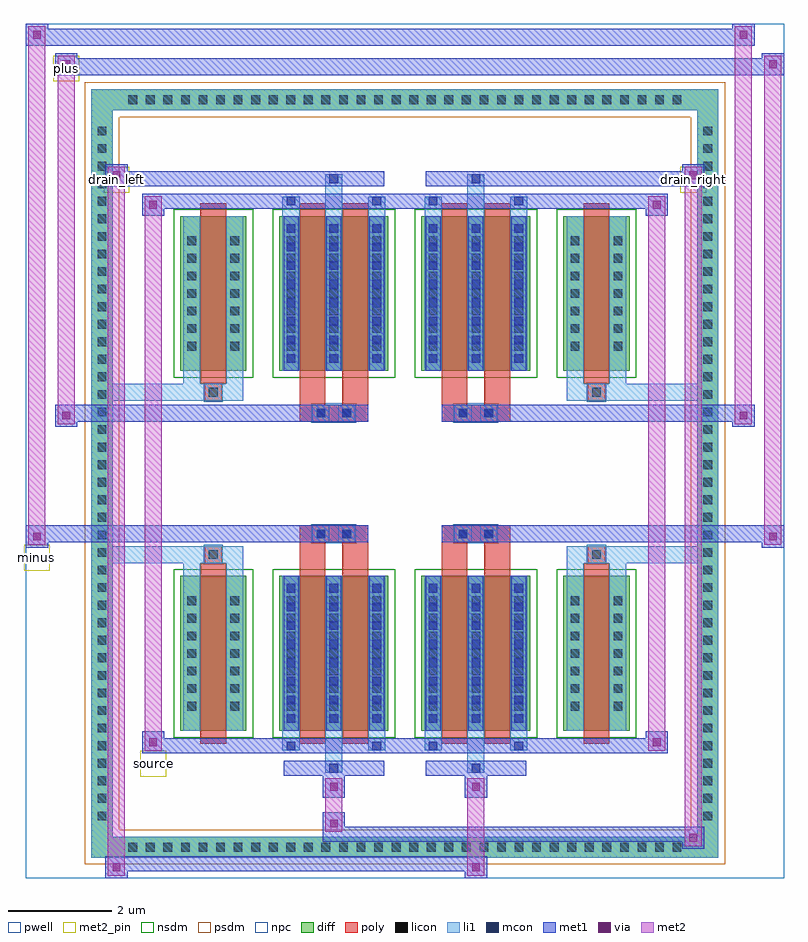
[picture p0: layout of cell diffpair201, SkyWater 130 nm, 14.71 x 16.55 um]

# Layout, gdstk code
import gdstk
lib = gdstk.Library(unit=1e-6, precision=5e-09)
def R(c, l, rs):  # rectangles x0, y0, x1, y1
    for r in rs: c.add(gdstk.rectangle(r[:2], r[2:], *l))
def A(c, l, x, y, w, h, nx, ny, dx, dy):  # array of equal rectangles
    R(c, l, [(x+i*dx, y+j*dy, x+i*dx+w, y+j*dy+h) for i in range(nx) for j in range(ny)])
def P(c, l, *ps):  # polygons
    for p in ps: c.add(gdstk.Polygon(p, *l))
pwell = (64, 44)
diff = (65, 20)
poly = (66, 20)
licon = (66, 44)
li1 = (67, 20)
mcon = (67, 44)
met1 = (68, 20)
via = (68, 44)
met2_pin = (69, 16)
met2 = (69, 20)
nsdm = (93, 44)
psdm = (94, 20)
npc = (95, 20)

diffpair201 = lib.new_cell('diffpair201')
R(diffpair201, pwell, [(-7.34,-7.84,7.34,8.71), (-4.66,-6.03,-0.01,-0.805), (0.01,-6.03,4.66,-0.805), (-4.66,0.805,-0.01,6.03), (0.01,0.805,4.66,6.03)])
A(diffpair201, diff, -5.475, -7.44, 0.41, 0.41, 32, 2, 0.34, 14.47)
A(diffpair201, diff, -6.07, -6.835, 0.41, 0.41, 1, 40, 0, 0.34)
A(diffpair201, diff, 5.66, -6.835, 0.41, 0.41, 1, 40, 0, 0.34)
R(diffpair201, diff, [(-5.475,-7.44,5.475,-7.03), (-6.07,-6.835,-5.66,6.835), (5.66,-6.835,6.07,6.835), (-4.35,-4.985,-3.07,-1.985), (-2.43,-4.985,-0.32,-1.985), (0.32,-4.985,2.43,-1.985), (3.07,-4.985,4.35,-1.985), (-4.35,1.985,-3.07,4.985), (-2.43,1.985,-0.32,4.985), (0.32,1.985,2.43,4.985), (3.07,1.985,4.35,4.985), (-5.475,7.03,5.475,7.44)])
P(diffpair201, diff, [(6.07,7.44),(-6.07,7.44),(-6.07,-7.03),(-5.66,-7.03),(-5.66,7.03),(5.66,7.03),(5.66,-7.03),(-5.66,-7.03),(-6.07,-7.03),(-6.07,-7.44),(6.07,-7.44)])
R(diffpair201, poly, [(-3.96,-5.235,-3.46,-1.735), (-2.04,-5.235,-1.54,-1.735), (-1.21,-5.235,-0.71,-1.735), (0.71,-5.235,1.21,-1.735), (1.54,-5.235,2.04,-1.735), (3.46,-5.235,3.96,-1.735), (-3.875,-1.735,-3.545,-1.405), (-3.875,-1.735,-3.545,-1.405), (-2.04,-1.735,-1.54,-1.335), (-1.21,-1.735,-0.71,-1.335), (0.71,-1.735,1.21,-1.335), (1.54,-1.735,2.04,-1.335), (3.545,-1.735,3.875,-1.405), (3.545,-1.735,3.875,-1.405), (-2.04,-1.335,-0.71,-1.005), (-1.79,-1.335,-1.46,-1.005), (-1.29,-1.335,-0.96,-1.005), (0.71,-1.335,2.04,-1.005), (0.96,-1.335,1.29,-1.005), (1.46,-1.335,1.79,-1.005), (-2.04,1.005,-0.71,1.335), (-1.79,1.005,-1.46,1.335), (-1.29,1.005,-0.96,1.335), (0.71,1.005,2.04,1.335), (0.96,1.005,1.29,1.335), (1.46,1.005,1.79,1.335), (-2.04,1.335,-1.54,1.735), (-1.21,1.335,-0.71,1.735), (0.71,1.335,1.21,1.735), (1.54,1.335,2.04,1.735), (-3.875,1.405,-3.545,1.735), (-3.875,1.405,-3.545,1.735), (3.545,1.405,3.875,1.735), (3.545,1.405,3.875,1.735), (-3.96,1.735,-3.46,5.235), (-2.04,1.735,-1.54,5.235), (-1.21,1.735,-0.71,5.235), (0.71,1.735,1.21,5.235), (1.54,1.735,2.04,5.235), (3.46,1.735,3.96,5.235)])
A(diffpair201, licon, -5.355, -7.32, 0.17, 0.17, 32, 2, 0.34, 14.47)
A(diffpair201, licon, -5.95, -6.715, 0.17, 0.17, 1, 40, 0, 0.34)
A(diffpair201, licon, 5.78, -6.715, 0.17, 0.17, 1, 40, 0, 0.34)
A(diffpair201, licon, -4.21, -4.59, 0.17, 0.17, 1, 7, 0, 0.34)
A(diffpair201, licon, -3.38, -4.59, 0.17, 0.17, 1, 7, 0, 0.34)
A(diffpair201, licon, -2.29, -4.59, 0.17, 0.17, 3, 7, 0.83, 0.34)
A(diffpair201, licon, 0.46, -4.59, 0.17, 0.17, 3, 7, 0.83, 0.34)
A(diffpair201, licon, 3.21, -4.59, 0.17, 0.17, 1, 7, 0, 0.34)
A(diffpair201, licon, 4.04, -4.59, 0.17, 0.17, 1, 7, 0, 0.34)
A(diffpair201, licon, -4.21, 2.38, 0.17, 0.17, 1, 7, 0, 0.34)
A(diffpair201, licon, -3.38, 2.38, 0.17, 0.17, 1, 7, 0, 0.34)
A(diffpair201, licon, -2.29, 2.38, 0.17, 0.17, 3, 7, 0.83, 0.34)
A(diffpair201, licon, 0.46, 2.38, 0.17, 0.17, 3, 7, 0.83, 0.34)
A(diffpair201, licon, 3.21, 2.38, 0.17, 0.17, 1, 7, 0, 0.34)
A(diffpair201, licon, 4.04, 2.38, 0.17, 0.17, 1, 7, 0, 0.34)
R(diffpair201, licon, [(-3.795,-1.655,-3.625,-1.485), (3.625,-1.655,3.795,-1.485), (-1.71,-1.255,-1.54,-1.085), (-1.21,-1.255,-1.04,-1.085), (1.04,-1.255,1.21,-1.085), (1.54,-1.255,1.71,-1.085), (-1.71,1.085,-1.54,1.255), (-1.21,1.085,-1.04,1.255), (1.04,1.085,1.21,1.255), (1.54,1.085,1.71,1.255), (-3.795,1.485,-3.625,1.655), (3.625,1.485,3.795,1.655)])
A(diffpair201, li1, -5.435, -7.4, 0.33, 0.33, 32, 2, 0.34, 14.47)
A(diffpair201, li1, -6.03, -6.795, 0.33, 0.33, 1, 40, 0, 0.34)
A(diffpair201, li1, 5.7, -6.795, 0.33, 0.33, 1, 40, 0, 0.34)
A(diffpair201, li1, -2.37, -4.985, 0.33, 3, 3, 2, 0.83, 6.97)
A(diffpair201, li1, 0.38, -4.985, 0.33, 3, 3, 2, 0.83, 6.97)
A(diffpair201, li1, -2.29, -4.83, 0.17, 0.17, 3, 8, 0.83, 0.36)
A(diffpair201, li1, -2.29, -4.83, 0.17, 2.69, 3, 2, 0.83, 6.97)
A(diffpair201, li1, 0.46, -4.83, 0.17, 0.17, 3, 8, 0.83, 0.36)
A(diffpair201, li1, 0.46, -4.83, 0.17, 2.69, 3, 2, 0.83, 6.97)
A(diffpair201, li1, -4.29, -4.67, 0.33, 0.33, 1, 7, 0, 0.34)
A(diffpair201, li1, -3.46, -4.67, 0.33, 0.33, 1, 7, 0, 0.34)
A(diffpair201, li1, -2.37, -4.67, 0.33, 0.33, 3, 7, 0.83, 0.34)
A(diffpair201, li1, 0.38, -4.67, 0.33, 0.33, 3, 7, 0.83, 0.34)
A(diffpair201, li1, 3.13, -4.67, 0.33, 0.33, 1, 7, 0, 0.34)
A(diffpair201, li1, 3.96, -4.67, 0.33, 0.33, 1, 7, 0, 0.34)
A(diffpair201, li1, -2.29, 2.14, 0.17, 0.17, 3, 8, 0.83, 0.36)
A(diffpair201, li1, 0.46, 2.14, 0.17, 0.17, 3, 8, 0.83, 0.36)
A(diffpair201, li1, -4.29, 2.3, 0.33, 0.33, 1, 7, 0, 0.34)
A(diffpair201, li1, -3.46, 2.3, 0.33, 0.33, 1, 7, 0, 0.34)
A(diffpair201, li1, -2.37, 2.3, 0.33, 0.33, 3, 7, 0.83, 0.34)
A(diffpair201, li1, 0.38, 2.3, 0.33, 0.33, 3, 7, 0.83, 0.34)
A(diffpair201, li1, 3.13, 2.3, 0.33, 0.33, 1, 7, 0, 0.34)
A(diffpair201, li1, 3.96, 2.3, 0.33, 0.33, 1, 7, 0, 0.34)
R(diffpair201, li1, [(-6.07,-7.44,-5.66,-7.03), (-6.07,-7.44,-5.66,-7.03), (-5.66,-7.44,5.66,-7.03), (5.66,-7.44,6.07,-7.03), (5.66,-7.44,6.07,-7.03), (-6.07,-7.03,-5.66,7.03), (5.66,-7.03,6.07,7.03), (-1.54,-5.79,-1.21,-4.985), (-1.46,-5.79,-1.29,-5.62), (1.21,-5.79,1.54,-4.985), (1.29,-5.79,1.46,-5.62), (-2.37,-5.36,-2.04,-4.985), (-2.29,-5.36,-2.12,-5.19), (-0.71,-5.36,-0.38,-4.985), (-0.63,-5.36,-0.46,-5.19), (0.38,-5.36,0.71,-4.985), (0.46,-5.36,0.63,-5.19), (2.04,-5.36,2.37,-4.985), (2.12,-5.36,2.29,-5.19), (-4.29,-4.985,-3.96,-1.985), (-3.46,-4.985,-3.13,-1.985), (3.13,-4.985,3.46,-1.985), (3.96,-4.985,4.29,-1.985), (-4.29,-1.985,-3.96,-1.405), (-3.46,-1.985,-3.13,-1.405), (3.13,-1.985,3.46,-1.405), (3.96,-1.985,4.29,-1.405), (-6.07,-1.735,-3.875,-1.405), (-4.29,-1.735,-3.875,-1.405), (-3.875,-1.735,-3.545,-1.405), (-3.545,-1.735,-3.13,-1.405), (3.13,-1.735,3.545,-1.405), (3.545,-1.735,3.875,-1.405), (3.545,-1.735,6.07,-1.405), (3.875,-1.735,4.29,-1.405), (-1.79,-1.335,-1.46,-1.005), (-1.29,-1.335,-0.96,-1.005), (0.96,-1.335,1.29,-1.005), (1.46,-1.335,1.79,-1.005), (-1.79,1.005,-1.46,1.335), (-1.29,1.005,-0.96,1.335), (0.96,1.005,1.29,1.335), (1.46,1.005,1.79,1.335), (-6.07,1.405,-3.875,1.735), (-4.29,1.405,-3.875,1.735), (-4.29,1.405,-3.96,1.985), (-3.875,1.405,-3.545,1.735), (-3.545,1.405,-3.13,1.735), (-3.46,1.405,-3.13,1.985), (3.13,1.405,3.545,1.735), (3.13,1.405,3.46,1.985), (3.545,1.405,3.875,1.735), (3.545,1.405,6.07,1.735), (3.875,1.405,4.29,1.735), (3.96,1.405,4.29,1.985), (-4.29,1.985,-3.96,4.985), (-3.46,1.985,-3.13,4.985), (3.13,1.985,3.46,4.985), (3.96,1.985,4.29,4.985), (-2.37,4.985,-2.04,5.36), (-1.54,4.985,-1.21,5.79), (-0.71,4.985,-0.38,5.36), (0.38,4.985,0.71,5.36), (1.21,4.985,1.54,5.79), (2.04,4.985,2.37,5.36), (-2.29,5.19,-2.12,5.36), (-0.63,5.19,-0.46,5.36), (0.46,5.19,0.63,5.36), (2.12,5.19,2.29,5.36), (-1.46,5.62,-1.29,5.79), (1.29,5.62,1.46,5.79), (-6.07,7.03,-5.66,7.44), (-6.07,7.03,-5.66,7.44), (-5.66,7.03,5.66,7.44), (5.66,7.03,6.07,7.44), (5.66,7.03,6.07,7.44)])
A(diffpair201, mcon, -2.29, -4.83, 0.17, 0.17, 3, 8, 0.83, 0.36)
A(diffpair201, mcon, 0.46, -4.83, 0.17, 0.17, 3, 8, 0.83, 0.36)
A(diffpair201, mcon, -2.29, 2.14, 0.17, 0.17, 3, 8, 0.83, 0.36)
A(diffpair201, mcon, 0.46, 2.14, 0.17, 0.17, 3, 8, 0.83, 0.36)
R(diffpair201, mcon, [(-1.46,-5.79,-1.29,-5.62), (1.29,-5.79,1.46,-5.62), (-2.29,-5.36,-2.12,-5.19), (-0.63,-5.36,-0.46,-5.19), (0.46,-5.36,0.63,-5.19), (2.12,-5.36,2.29,-5.19), (-1.71,-1.255,-1.54,-1.085), (-1.21,-1.255,-1.04,-1.085), (1.04,-1.255,1.21,-1.085), (1.54,-1.255,1.71,-1.085), (-1.71,1.085,-1.54,1.255), (-1.21,1.085,-1.04,1.255), (1.04,1.085,1.21,1.255), (1.54,1.085,1.71,1.255), (-2.29,5.19,-2.12,5.36), (-0.63,5.19,-0.46,5.36), (0.46,5.19,0.63,5.36), (2.12,5.19,2.29,5.36), (-1.46,5.62,-1.29,5.79), (1.29,5.62,1.46,5.79)])
A(diffpair201, met1, -2.35, -4.985, 0.29, 3, 3, 2, 0.83, 6.97)
A(diffpair201, met1, 0.4, -4.985, 0.29, 3, 3, 2, 0.83, 6.97)
A(diffpair201, met1, -2.35, -4.89, 0.29, 0.29, 3, 8, 0.83, 0.36)
A(diffpair201, met1, 0.4, -4.89, 0.29, 0.29, 3, 8, 0.83, 0.36)
A(diffpair201, met1, -2.35, 2.08, 0.29, 0.29, 3, 8, 0.83, 0.36)
A(diffpair201, met1, 0.4, 2.08, 0.29, 0.29, 3, 8, 0.83, 0.36)
R(diffpair201, met1, [(-5.8,-7.84,-5.37,-7.41), (1.16,-7.84,1.59,-7.41), (-5.8,-7.7,1.59,-7.41), (5.37,-7.27,5.8,-6.84), (-1.59,-7.13,5.8,-6.84), (-1.59,-6.99,-1.16,-6.56), (-1.59,-6.28,-1.16,-5.85), (1.16,-6.28,1.59,-5.85), (-2.35,-5.85,-0.4,-5.56), (-1.52,-5.85,-1.23,-5.56), (0.4,-5.85,2.35,-5.56), (1.23,-5.85,1.52,-5.56), (-5.09,-5.42,-4.66,-4.99), (-5.09,-5.42,-2.35,-5.13), (-2.35,-5.42,-2.06,-5.13), (-2.35,-5.42,-0.4,-5.13), (-0.69,-5.42,-0.4,-5.13), (-0.4,-5.42,0.4,-5.13), (0.4,-5.42,0.69,-5.13), (0.4,-5.42,2.35,-5.13), (2.06,-5.42,2.35,-5.13), (2.35,-5.42,5.09,-5.13), (4.66,-5.42,5.09,-4.99), (-7.34,-1.435,-6.91,-1.005), (6.91,-1.435,7.34,-1.005), (-7.34,-1.335,-0.71,-1.005), (-2.04,-1.335,-0.71,-1.005), (0.71,-1.335,2.04,-1.005), (0.71,-1.335,7.34,-1.005), (-1.77,-1.315,-1.48,-1.025), (-1.27,-1.315,-0.98,-1.025), (0.98,-1.315,1.27,-1.025), (1.48,-1.315,1.77,-1.025), (-6.77,0.905,-6.34,1.335), (6.34,0.905,6.77,1.335), (-6.77,1.005,-2.04,1.335), (-2.04,1.005,-0.71,1.335), (0.71,1.005,2.04,1.335), (2.04,1.005,6.77,1.335), (-1.77,1.025,-1.48,1.315), (-1.27,1.025,-0.98,1.315), (0.98,1.025,1.27,1.315), (1.48,1.025,1.77,1.315), (-5.09,4.99,-4.66,5.42), (4.66,4.99,5.09,5.42), (-5.09,5.13,-2.35,5.42), (-2.35,5.13,-2.06,5.42), (-2.35,5.13,-0.4,5.42), (-0.69,5.13,-0.4,5.42), (-0.4,5.13,0.4,5.42), (0.4,5.13,0.69,5.42), (0.4,5.13,2.35,5.42), (2.06,5.13,2.35,5.42), (2.35,5.13,5.09,5.42), (-5.8,5.56,-5.37,5.99), (-5.8,5.56,-2.35,5.85), (-2.35,5.56,-0.4,5.85), (-1.52,5.56,-1.23,5.85), (0.4,5.56,2.35,5.85), (1.23,5.56,1.52,5.85), (2.35,5.56,5.8,5.85), (5.37,5.56,5.8,5.99), (-6.77,7.71,-6.34,8.14), (-6.77,7.71,-4.66,8.04), (-4.66,7.71,4.66,8.04), (4.66,7.71,7.34,8.04), (6.91,7.71,7.34,8.14), (-7.34,8.28,-6.91,8.71), (-7.34,8.28,-4.66,8.61), (-4.66,8.28,4.66,8.61), (4.66,8.28,6.77,8.61), (6.34,8.28,6.77,8.71)])
R(diffpair201, via, [(-5.66,-7.7,-5.51,-7.55), (1.3,-7.7,1.45,-7.55), (5.51,-7.13,5.66,-6.98), (-1.45,-6.85,-1.3,-6.7), (-1.45,-6.14,-1.3,-5.99), (1.3,-6.14,1.45,-5.99), (-4.95,-5.28,-4.8,-5.13), (4.8,-5.28,4.95,-5.13), (-7.2,-1.295,-7.05,-1.145), (7.05,-1.295,7.2,-1.145), (-6.63,1.045,-6.48,1.195), (6.48,1.045,6.63,1.195), (-4.95,5.13,-4.8,5.28), (4.8,5.13,4.95,5.28), (-5.66,5.7,-5.51,5.85), (5.51,5.7,5.66,5.85), (-6.63,7.85,-6.48,8), (7.05,7.85,7.2,8), (-7.2,8.42,-7.05,8.57), (6.48,8.42,6.63,8.57)])
R(diffpair201, met2_pin, [(-5.125,-5.87,-4.625,-5.37), (-7.375,-1.885,-6.875,-1.385), (-5.835,5.44,-5.335,5.94), (5.335,5.44,5.835,5.94), (-6.805,7.59,-6.305,8.09)])
R(diffpair201, met2, [(-5.75,-7.79,-5.42,-7.46), (-5.75,-7.79,-5.42,5.94), (1.21,-7.79,1.54,-7.46), (1.21,-7.46,1.54,-6.23), (5.42,-7.22,5.75,-6.89), (5.42,-7.22,5.75,5.94), (-1.54,-6.94,-1.21,-6.61), (-1.54,-6.61,-1.21,-6.23), (-1.54,-6.23,-1.21,-5.9), (1.21,-6.23,1.54,-5.9), (-5.04,-5.37,-4.71,-5.04), (-5.04,-5.37,-4.71,5.37), (4.71,-5.37,5.04,-5.04), (4.71,-5.37,5.04,5.37), (-7.29,-1.385,-6.96,-1.055), (-7.29,-1.385,-6.96,8.66), (6.96,-1.385,7.29,-1.055), (6.96,-1.385,7.29,8.09), (-6.72,0.955,-6.39,1.285), (-6.72,0.955,-6.39,8.09), (6.39,0.955,6.72,1.285), (6.39,0.955,6.72,8.66), (-5.04,5.04,-4.71,5.37), (4.71,5.04,5.04,5.37), (-5.75,5.61,-5.42,5.94), (5.42,5.61,5.75,5.94), (-6.72,7.76,-6.39,8.09), (6.96,7.76,7.29,8.09), (-7.29,8.33,-6.96,8.66), (6.39,8.33,6.72,8.66)])
P(diffpair201, met2, [(7.29,-1.385),(7.29,-1.385),(7.29,-1.055),(7.29,-1.055)],
  [(7.29,7.76),(7.29,7.76),(7.29,8.09),(7.29,8.09)],
  [(-6.96,-1.385),(-6.96,-1.385),(-6.96,-1.055),(-6.96,-1.055)],
  [(-6.96,8.33),(-6.96,8.33),(-6.96,8.66),(-6.96,8.66)],
  [(6.72,0.955),(6.72,0.955),(6.72,1.285),(6.72,1.285)],
  [(6.72,8.33),(6.72,8.33),(6.72,8.66),(6.72,8.66)],
  [(-6.39,0.955),(-6.39,0.955),(-6.39,1.285),(-6.39,1.285)],
  [(-6.39,7.76),(-6.39,7.76),(-6.39,8.09),(-6.39,8.09)],
  [(-5.42,-7.79),(-5.42,-7.79),(-5.42,-7.46),(-5.42,-7.46)],
  [(-5.42,5.61),(-5.42,5.61),(-5.42,5.94),(-5.42,5.94)],
  [(5.75,-7.22),(5.75,-7.22),(5.75,-6.89),(5.75,-6.89)],
  [(5.75,5.61),(5.75,5.61),(5.75,5.94),(5.75,5.94)],
  [(-4.71,-5.37),(-4.71,-5.37),(-4.71,-5.04),(-4.71,-5.04)],
  [(-4.71,5.04),(-4.71,5.04),(-4.71,5.37),(-4.71,5.37)],
  [(5.04,-5.37),(5.04,-5.37),(5.04,-5.04),(5.04,-5.04)],
  [(5.04,5.04),(5.04,5.04),(5.04,5.37),(5.04,5.37)])
R(diffpair201, nsdm, [(-4.48,-5.115,-2.94,-1.855), (-2.56,-5.115,-0.19,-1.855), (0.19,-5.115,2.56,-1.855), (2.94,-5.115,4.48,-1.855), (-4.48,1.855,-2.94,5.115), (-2.56,1.855,-0.19,5.115), (0.19,1.855,2.56,5.115), (2.94,1.855,4.48,5.115)])
P(diffpair201, psdm, [(6.2,7.57),(-6.2,7.57),(-6.2,-6.9),(-5.53,-6.9),(-5.53,6.9),(5.53,6.9),(5.53,-6.9),(-5.53,-6.9),(-6.2,-6.9),(-6.2,-7.57),(6.2,-7.57)])
R(diffpair201, npc, [(-3.895,-1.755,-3.525,-1.385), (3.525,-1.755,3.895,-1.385), (-1.81,-1.355,-1.44,-0.985), (-1.81,-1.355,-0.94,-0.985), (-1.81,-1.355,-0.94,-0.985), (-1.31,-1.355,-0.94,-0.985), (0.94,-1.355,1.31,-0.985), (0.94,-1.355,1.81,-0.985), (0.94,-1.355,1.81,-0.985), (1.44,-1.355,1.81,-0.985), (-1.81,0.985,-1.44,1.355), (-1.81,0.985,-0.94,1.355), (-1.81,0.985,-0.94,1.355), (-1.31,0.985,-0.94,1.355), (0.94,0.985,1.31,1.355), (0.94,0.985,1.81,1.355), (0.94,0.985,1.81,1.355), (1.44,0.985,1.81,1.355), (-3.895,1.385,-3.525,1.755), (3.525,1.385,3.895,1.755)])
diffpair201.add(gdstk.Label('minus', (-7.125,-1.635), layer=69, texttype=5))
diffpair201.add(gdstk.Label('drain_right', (5.585,5.69), layer=69, texttype=5))
diffpair201.add(gdstk.Label('drain_left', (-5.585,5.69), layer=69, texttype=5))
diffpair201.add(gdstk.Label('source', (-4.875,-5.62), layer=69, texttype=5))
diffpair201.add(gdstk.Label('plus', (-6.555,7.84), layer=69, texttype=5))

lib.write_gds('diffpair201.gds')
